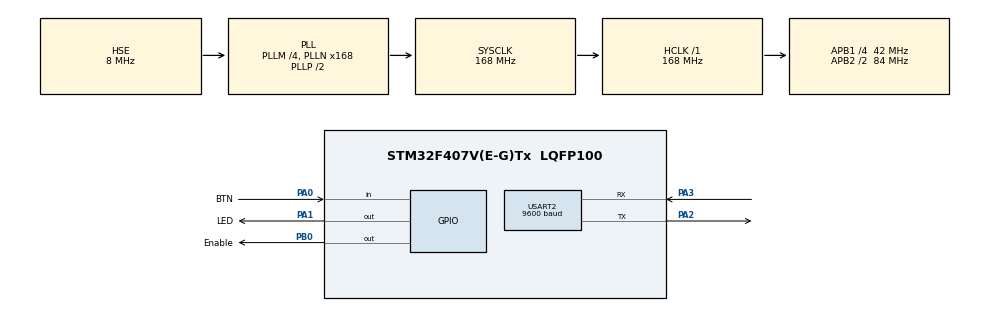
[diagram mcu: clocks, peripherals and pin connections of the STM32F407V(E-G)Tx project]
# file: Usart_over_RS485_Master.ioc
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Mcu.Family=STM32F4
Mcu.Name=STM32F407V(E-G)Tx
Mcu.Package=LQFP100
NVIC.PriorityGroup=NVIC_PRIORITYGROUP_4
NVIC.TIM8_TRG_COM_TIM14_IRQn=true\:15\:0\:false\:false\:true\:false\:true
NVIC.TimeBase=TIM8_TRG_COM_TIM14_IRQn
NVIC.TimeBaseIP=TIM14
NVIC.USART2_IRQn=true\:0\:0\:false\:false\:true\:true\:true
PA0-WKUP.GPIO_Label=BTN
PA0-WKUP.GPIO_PuPd=GPIO_PULLDOWN
PA0-WKUP.Signal=GPIO_Input
PA1.GPIO_Label=LED
PA1.Signal=GPIO_Output
PA13.Mode=Serial_Wire
PA13.Signal=SYS_JTMS-SWDIO
PA14.Mode=Serial_Wire
PA14.Signal=SYS_JTCK-SWCLK
PA2.Mode=Asynchronous
PA2.Signal=USART2_TX
PA3.Mode=Asynchronous
PA3.Signal=USART2_RX
PB0.GPIO_Label=Enable
PB0.Signal=GPIO_Output
PH0-OSC_IN.Mode=HSE-External-Oscillator
PH0-OSC_IN.Signal=RCC_OSC_IN
PH1-OSC_OUT.Mode=HSE-External-Oscillator
PH1-OSC_OUT.Signal=RCC_OSC_OUT
ProjectManager.HeapSize=0x200
ProjectManager.StackSize=0x400
ProjectManager.TargetToolchain=STM32CubeIDE
RCC.48MHZClocksFreq_Value=84000000
RCC.AHBFreq_Value=168000000
RCC.APB1CLKDivider=RCC_HCLK_DIV4
RCC.APB1Freq_Value=42000000
RCC.APB1TimFreq_Value=84000000
RCC.APB2CLKDivider=RCC_HCLK_DIV2
RCC.APB2Freq_Value=84000000
RCC.APB2TimFreq_Value=168000000
RCC.CortexFreq_Value=168000000
RCC.HCLKFreq_Value=168000000
RCC.HSE_VALUE=8000000
RCC.HSI_VALUE=16000000
RCC.LSE_VALUE=32768
RCC.PLLM=4
RCC.PLLN=168
RCC.PLLSourceVirtual=RCC_PLLSOURCE_HSE
RCC.SYSCLKFreq_VALUE=168000000
RCC.SYSCLKSource=RCC_SYSCLKSOURCE_PLLCLK
RCC.VCOOutputFreq_Value=336000000
USART2.BaudRate=9600
USART2.VirtualMode=VM_ASYNC
VP_SYS_VS_tim14.Mode=TIM14
board=custom

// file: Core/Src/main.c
/* USER CODE BEGIN Header */
/**
  ******************************************************************************
  * @file           : main.c
  * @brief          : Main program body
  ******************************************************************************
  * @attention
  *
  * Copyright (c) 2021 STMicroelectronics.
  * All rights reserved.
  *
  * This software is licensed under terms that can be found in the LICENSE file
  * in the root directory of this software component.
  * If no LICENSE file comes with this software, it is provided AS-IS.
  *
  ******************************************************************************
  */
/* USER CODE END Header */
#include "main.h"

/* USER CODE BEGIN Includes */
#include <stdio.h> /* для printf */
#include <string.h>
#define rx_buffer_size 64 // Размер буфера для входных данных, установи нужное значение!
uint8_t rx_buffer[rx_buffer_size] = { 0, }; // Буфер для входных данных.
uint16_t rx_buffer_len; // Переменная для разных длинн данных.
int flag = 0;
/* USER CODE END Includes */

UART_HandleTypeDef huart2;

void SystemClock_Config(void);
static void MX_GPIO_Init(void);
static void MX_USART2_UART_Init(void);

int main(void)
{

  /* MCU Configuration--------------------------------------------------------*/

  /* Reset of all peripherals, Initializes the Flash interface and the Systick. */
  HAL_Init();

  /* Configure the system clock */
  SystemClock_Config();

  /* Initialize all configured peripherals */
  MX_GPIO_Init();
  MX_USART2_UART_Init();
  /* USER CODE BEGIN 2 */
  HAL_GPIO_WritePin(LED_GPIO_Port, LED_Pin, GPIO_PIN_SET); // По дефолту откоючаем LED
  HAL_GPIO_WritePin(Enable_GPIO_Port, Enable_Pin, GPIO_PIN_SET); // Enable pin always HIGH as Master writes data to Slave
  printf("Aplication is runing! \n\r");

	__HAL_UART_ENABLE_IT(&huart2, UART_IT_IDLE); // Флаг IDLE
	HAL_UART_Receive_IT(&huart2, rx_buffer, rx_buffer_size); // Запуск према данных
  /* USER CODE END 2 */

  /* Infinite loop */
  while (1)
  {
		if (HAL_GPIO_ReadPin(GPIOA, GPIO_PIN_0)) { // Усли нажали на кнопку то LED is ON.
			HAL_GPIO_WritePin(GPIOA, GPIO_PIN_1, GPIO_PIN_RESET);
			if (huart2.gState != HAL_UART_STATE_BUSY_TX) {
				memset(rx_buffer, '\0', sizeof(rx_buffer)); // Очистка массива в сокете т.е. 'rx_buffer'
				*rx_buffer = '7';
				rx_buffer_len = sizeof(*rx_buffer);
				HAL_UART_Transmit_IT(&huart2, rx_buffer, rx_buffer_len);
				flag = 1;
			}
		}

		if (!HAL_GPIO_ReadPin(GPIOA, GPIO_PIN_0) && flag == 1) {// Усли нажали на кнопку то LED is ON.
			HAL_GPIO_WritePin(GPIOA, GPIO_PIN_1, GPIO_PIN_SET);
			if (huart2.gState != HAL_UART_STATE_BUSY_TX) {
				memset(rx_buffer, '\0', sizeof(rx_buffer)); // Очистка массива в сокете т.е. 'rx_buffer'
				*rx_buffer = '8';
				rx_buffer_len = sizeof(*rx_buffer);
				HAL_UART_Transmit_IT(&huart2, rx_buffer, rx_buffer_len);
				flag = 0;
			}
		}
		HAL_Delay(100);
	}
  /* USER CODE END 3 */
}

void SystemClock_Config(void)
{
  RCC_OscInitTypeDef RCC_OscInitStruct = {0};
  RCC_ClkInitTypeDef RCC_ClkInitStruct = {0};

  /** Configure the main internal regulator output voltage
  */
  __HAL_RCC_PWR_CLK_ENABLE();
  __HAL_PWR_VOLTAGESCALING_CONFIG(PWR_REGULATOR_VOLTAGE_SCALE1);
  /** Initializes the RCC Oscillators according to the specified parameters
  * in the RCC_OscInitTypeDef structure.
  */
  RCC_OscInitStruct.OscillatorType = RCC_OSCILLATORTYPE_HSE;
  RCC_OscInitStruct.HSEState = RCC_HSE_ON;
  RCC_OscInitStruct.PLL.PLLState = RCC_PLL_ON;
  RCC_OscInitStruct.PLL.PLLSource = RCC_PLLSOURCE_HSE;
  RCC_OscInitStruct.PLL.PLLM = 4;
  RCC_OscInitStruct.PLL.PLLN = 168;
  RCC_OscInitStruct.PLL.PLLP = RCC_PLLP_DIV2;
  RCC_OscInitStruct.PLL.PLLQ = 4;
  if (HAL_RCC_OscConfig(&RCC_OscInitStruct) != HAL_OK)
  {
    Error_Handler();
  }
  /** Initializes the CPU, AHB and APB buses clocks
  */
  RCC_ClkInitStruct.ClockType = RCC_CLOCKTYPE_HCLK|RCC_CLOCKTYPE_SYSCLK
                              |RCC_CLOCKTYPE_PCLK1|RCC_CLOCKTYPE_PCLK2;
  RCC_ClkInitStruct.SYSCLKSource = RCC_SYSCLKSOURCE_PLLCLK;
  RCC_ClkInitStruct.AHBCLKDivider = RCC_SYSCLK_DIV1;
  RCC_ClkInitStruct.APB1CLKDivider = RCC_HCLK_DIV4;
  RCC_ClkInitStruct.APB2CLKDivider = RCC_HCLK_DIV2;

  if (HAL_RCC_ClockConfig(&RCC_ClkInitStruct, FLASH_LATENCY_5) != HAL_OK)
  {
    Error_Handler();
  }
}

static void MX_USART2_UART_Init(void)
{

  huart2.Instance = USART2;
  huart2.Init.BaudRate = 9600;
  huart2.Init.WordLength = UART_WORDLENGTH_8B;
  huart2.Init.StopBits = UART_STOPBITS_1;
  huart2.Init.Parity = UART_PARITY_NONE;
  huart2.Init.Mode = UART_MODE_TX_RX;
  huart2.Init.HwFlowCtl = UART_HWCONTROL_NONE;
  huart2.Init.OverSampling = UART_OVERSAMPLING_16;
  if (HAL_UART_Init(&huart2) != HAL_OK)
  {
    Error_Handler();
  }

}

static void MX_GPIO_Init(void)
{
  GPIO_InitTypeDef GPIO_InitStruct = {0};

  /* GPIO Ports Clock Enable */
  __HAL_RCC_GPIOH_CLK_ENABLE();
  __HAL_RCC_GPIOA_CLK_ENABLE();
  __HAL_RCC_GPIOB_CLK_ENABLE();

  /*Configure GPIO pin Output Level */
  HAL_GPIO_WritePin(LED_GPIO_Port, LED_Pin, GPIO_PIN_RESET);

  /*Configure GPIO pin Output Level */
  HAL_GPIO_WritePin(Enable_GPIO_Port, Enable_Pin, GPIO_PIN_RESET);

  /*Configure GPIO pin : BTN_Pin */
  GPIO_InitStruct.Pin = BTN_Pin;
  GPIO_InitStruct.Mode = GPIO_MODE_INPUT;
  GPIO_InitStruct.Pull = GPIO_PULLDOWN;
  HAL_GPIO_Init(BTN_GPIO_Port, &GPIO_InitStruct);

  /*Configure GPIO pin : LED_Pin */
  GPIO_InitStruct.Pin = LED_Pin;
  GPIO_InitStruct.Mode = GPIO_MODE_OUTPUT_PP;
  GPIO_InitStruct.Pull = GPIO_NOPULL;
  GPIO_InitStruct.Speed = GPIO_SPEED_FREQ_LOW;
  HAL_GPIO_Init(LED_GPIO_Port, &GPIO_InitStruct);

  /*Configure GPIO pin : Enable_Pin */
  GPIO_InitStruct.Pin = Enable_Pin;
  GPIO_InitStruct.Mode = GPIO_MODE_OUTPUT_PP;
  GPIO_InitStruct.Pull = GPIO_NOPULL;
  GPIO_InitStruct.Speed = GPIO_SPEED_FREQ_LOW;
  HAL_GPIO_Init(Enable_GPIO_Port, &GPIO_InitStruct);

}

/* USER CODE BEGIN 4 */
/*------------------------Callback для флага IDLE---------------------------------------*/
void HAL_UART_IDLE_Callback(UART_HandleTypeDef *huart) { // Эта функция отслеживает окончание передачи!
	if (huart == &huart2) { //проверка, из нужного ли uart пришли данные
		printf("IDLE = OK\n\r");
		__HAL_UART_DISABLE_IT(&huart2, UART_IT_IDLE); // Что бы писало один раз "IDLE = OK"
		rx_buffer_len = rx_buffer_size - huart->RxXferCount;

		/*----------Действия с входящими данными, что получили то и отправляем!-----------*/
		if (huart2.gState != HAL_UART_STATE_BUSY_TX) {
			HAL_UART_Transmit_IT(&huart2, rx_buffer, rx_buffer_len);
			if (*rx_buffer == '1') { // Если прилитела 1-ка то включаем светодиод!
				HAL_GPIO_WritePin(LED_GPIO_Port, LED_Pin, GPIO_PIN_RESET);
			} else if (*rx_buffer == '0') { // Если прилитела 0-к то отключаем светодиод!
				HAL_GPIO_WritePin(LED_GPIO_Port, LED_Pin, GPIO_PIN_SET);
			}
		} else {
		}
		/*----------основные действия с входящими данными-----------*/
		HAL_UART_AbortReceive_IT(&huart2);      // Без этих 2-х строк,
		__HAL_UART_CLEAR_IDLEFLAG(&huart2); // работать будет только один раз!

		__HAL_UART_ENABLE_IT(&huart2, UART_IT_IDLE);
		HAL_UART_Receive_IT(&huart2, rx_buffer, rx_buffer_size);
	}
}

/*------------------------UART RxCpltCallback---------------------------------------*/
void HAL_UART_RxCpltCallback(UART_HandleTypeDef *huart) {
	if (huart == &huart2) { //проверка, из нужного ли uart пришли данные
		printf("RxCpltCallback = OK\n\r");
		__HAL_UART_DISABLE_IT(&huart2, UART_IT_IDLE);

		printf("rx_buffer is overflow! \n\r"); // Если объем данных превышает размер буфера для входных данных будет сообщение!

		HAL_UART_AbortReceive_IT(&huart2); // Нужно, что бы не суммировало сообщения! Без этих 3-х строк,
		__HAL_UART_CLEAR_IDLEFLAG(&huart2); // работать будет только один раз!
		__HAL_UART_ENABLE_IT(&huart2, UART_IT_IDLE); // Сбрасываем флаг IDLE

		HAL_UART_Receive_IT(&huart2, rx_buffer, rx_buffer_size);// Снова в режим приёма.
	}
}
/*------------------------RxCpltCallback---------------------------------------*/
/* USER CODE END 4 */

void HAL_TIM_PeriodElapsedCallback(TIM_HandleTypeDef *htim)
{
  if (htim->Instance == TIM14) {
    HAL_IncTick();
  }
}

void Error_Handler(void)
{
  __disable_irq();
  while (1)
  {
  }
}
